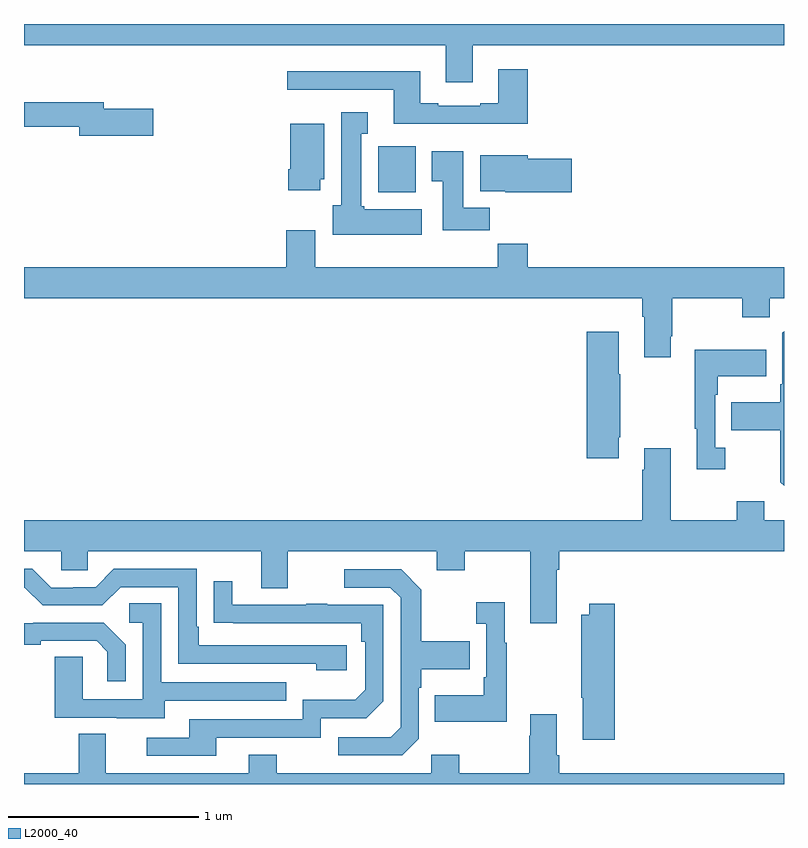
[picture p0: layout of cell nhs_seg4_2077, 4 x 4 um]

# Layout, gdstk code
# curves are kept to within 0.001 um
import gdstk
lib = gdstk.Library(unit=1e-6, precision=1e-09)
def R(c, l, rs):  # rectangles x0, y0, x1, y1
    for r in rs: c.add(gdstk.rectangle(r[:2], r[2:], *l))
def P(c, l, *ps):  # polygons
    for p in ps: c.add(gdstk.Polygon(p, *l))
L2000_40 = (2000, 40)

nhs_seg4_2077 = lib.new_cell('nhs_seg4_2077')
R(nhs_seg4_2077, L2000_40, [(218.864,828.014,219.061,828.256)])
P(nhs_seg4_2077, L2000_40, [(219.361,828.788),(221,828.788),(221,828.9),(217,828.9),(217,828.788),(219.221,828.788),(219.221,828.594),(219.361,828.594)],
  [(219.65,828.661),(219.497,828.661),(219.497,828.484),(219.401,828.484),(219.401,828.471),(219.181,828.471),(219.181,828.484),(219.085,828.484),(219.085,828.652),(218.385,828.652),(218.385,828.555),(218.945,828.555),(218.945,828.374),(219.65,828.374)],
  [(217.681,828.453),(217.42,828.453),(217.42,828.487),(217,828.487),(217,828.358),(217.292,828.358),(217.292,828.311),(217.681,828.311)],
  [(219.094,827.926),(218.79,827.926),(218.79,827.94),(218.776,827.94),(218.776,828.323),(218.809,828.323),(218.809,828.436),(218.669,828.436),(218.669,827.946),(218.624,827.946),(218.624,827.792),(219.094,827.792)],
  [(218.56,828.084),(218.581,828.084),(218.581,828.376),(218.402,828.376),(218.402,828.136),(218.39,828.136),(218.39,828.024),(218.56,828.024)],
  [(219.452,827.932),(219.313,827.932),(219.313,828.229),(219.146,828.229),(219.146,828.073),(219.203,828.073),(219.203,827.814),(219.452,827.814)],
  [(219.883,828.191),(219.652,828.191),(219.652,828.208),(219.401,828.208),(219.401,828.02),(219.534,828.02),(219.534,828.014),(219.883,828.014)],
  [(220.405,827.257),(220.413,827.257),(220.413,827.456),(220.78,827.456),(220.78,827.357),(220.926,827.357),(220.926,827.456),(221,827.456),(221,827.62),(219.65,827.62),(219.65,827.744),(219.493,827.744),(219.493,827.62),(218.533,827.62),(218.533,827.815),(218.381,827.815),(218.381,827.62),(217,827.62),(217,827.456),(220.253,827.456),(220.253,827.36),(220.265,827.36),(220.265,827.145),(220.405,827.145)],
  [(221,827.282),(220.992,827.274),(220.992,827.005),(220.98,827.005),(220.98,826.909),(220.723,826.909),(220.723,826.762),(220.98,826.762),(220.98,826.489),(221,826.469)],
  [(220.129,826.726),(220.137,826.726),(220.137,827.057),(220.129,827.057),(220.129,827.281),(219.962,827.281),(219.962,826.614),(220.129,826.614)],
  [(220.69,826.67),(220.638,826.67),(220.638,826.949),(220.651,826.949),(220.651,827.045),(220.907,827.045),(220.907,827.185),(220.53,827.185),(220.53,826.769),(220.541,826.769),(220.541,826.557),(220.69,826.557)],
  [(219.805,826.028),(219.818,826.028),(219.818,826.124),(221,826.124),(221,826.288),(220.897,826.288),(220.897,826.387),(220.75,826.387),(220.75,826.288),(220.405,826.288),(220.405,826.666),(220.265,826.666),(220.265,826.553),(220.253,826.553),(220.253,826.288),(217,826.288),(217,826.124),(217.197,826.124),(217.197,826.026),(217.335,826.026),(217.335,826.124),(218.249,826.124),(218.249,825.93),(218.389,825.93),(218.389,826.124),(219.173,826.124),(219.173,826.025),(219.321,826.025),(219.321,826.124),(219.665,826.124),(219.665,825.747),(219.805,825.747)],
  [(218.698,825.63),(217.921,825.63),(217.921,825.727),(217.908,825.727),(217.908,826.032),(217.473,826.032),(217.377,825.936),(217.259,825.936),(217.259,825.933),(217.143,825.933),(217.043,826.033),(217,826.033),(217,825.933),(217.005,825.933),(217.098,825.84),(217.413,825.84),(217.509,825.936),(217.812,825.936),(217.812,825.534),(218.537,825.534),(218.537,825.5),(218.698,825.5)],
  [(219.078,825.138),(219.078,825.407),(219.091,825.407),(219.091,825.503),(219.347,825.503),(219.347,825.651),(219.091,825.651),(219.091,825.923),(218.985,826.029),(218.685,826.029),(218.685,825.933),(218.928,825.933),(218.982,825.879),(218.982,825.198),(218.931,825.147),(218.655,825.147),(218.655,825.051),(218.991,825.051)],
  [(218.011,825.144),(218.562,825.144),(218.562,825.246),(218.802,825.246),(218.892,825.336),(218.892,825.843),(218.597,825.843),(218.597,825.848),(218.485,825.848),(218.485,825.843),(218.095,825.843),(218.095,825.967),(217.999,825.967),(217.999,825.748),(218.776,825.747),(218.776,825.65),(218.796,825.65),(218.796,825.396),(218.743,825.343),(218.466,825.343),(218.466,825.24),(217.871,825.24),(217.871,825.144),(217.647,825.144),(217.647,825.048),(218.011,825.048)],
  [(219.541,825.643),(219.529,825.643),(219.529,825.856),(219.381,825.856),(219.381,825.743),(219.432,825.743),(219.432,825.463),(219.42,825.463),(219.42,825.367),(219.163,825.367),(219.163,825.227),(219.541,825.227)],
  [(217.741,825.339),(218.381,825.339),(218.381,825.435),(217.722,825.435),(217.722,825.851),(217.554,825.851),(217.554,825.75),(217.626,825.75),(217.626,825.345),(217.308,825.345),(217.308,825.569),(217.163,825.569),(217.163,825.249),(217.487,825.249),(217.487,825.245),(217.741,825.245)],
  [(220.109,825.85),(219.974,825.85),(219.974,825.79),(219.934,825.79),(219.934,825.355),(219.941,825.355),(219.941,825.132),(220.109,825.132)],
  [(217.536,825.634),(217.42,825.75),(217.048,825.75),(217.048,825.747),(217,825.747),(217,825.632),(217.087,825.632),(217.087,825.654),(217.382,825.654),(217.439,825.597),(217.439,825.441),(217.536,825.441)],
  [(221,824.956),(219.818,824.956),(219.818,825.052),(219.805,825.052),(219.805,825.268),(219.665,825.268),(219.665,825.155),(219.658,825.155),(219.658,824.956),(219.291,824.956),(219.291,825.055),(219.144,825.055),(219.144,824.956),(218.331,824.956),(218.331,825.055),(218.183,825.055),(218.183,824.956),(217.429,824.956),(217.429,825.164),(217.289,825.164),(217.289,824.956),(217,824.956),(217,824.9),(221,824.9)])

lib.write_gds('nhs_seg4_2077.gds')
